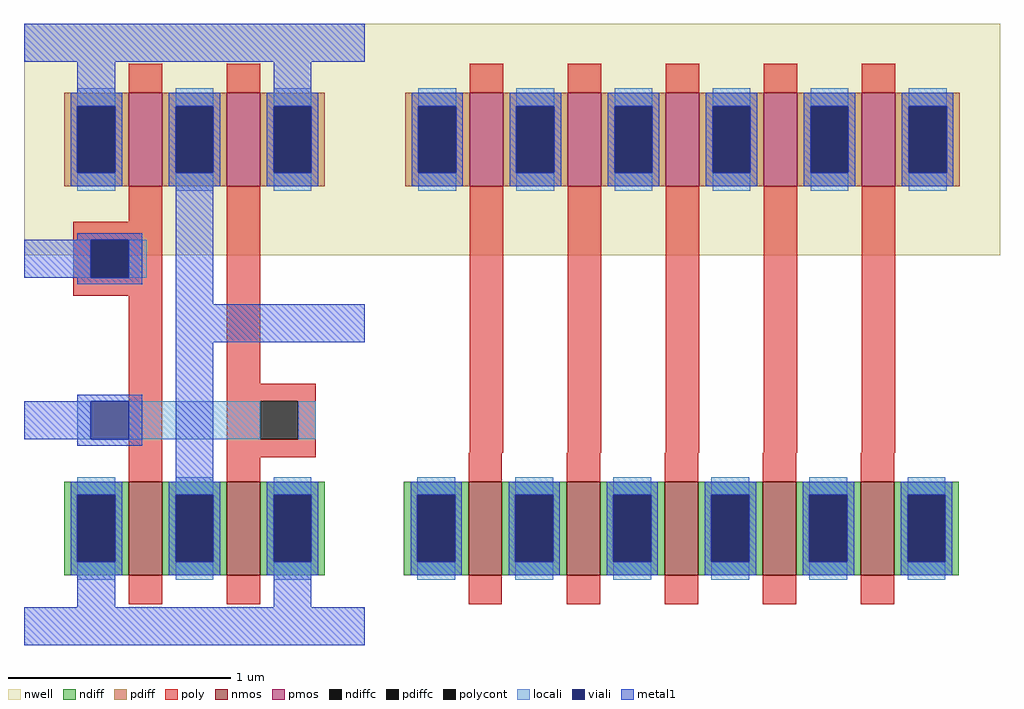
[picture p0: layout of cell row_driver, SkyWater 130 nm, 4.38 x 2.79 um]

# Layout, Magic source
magic
tech sky130A
magscale 1 2
<< poly >>
rect 400 173 430 386
rect 488 173 518 386
rect 576 173 606 386
rect 664 173 694 386
rect 752 173 782 386
use nand2  nand2_0 ~/Desktop/FabRAM/FE/sram130/nand2
transform 1 0 0 0 1 -91
box 0 91 306 649
use sky130_fd_pr__nfet_01v8_A6LSUL  sky130_fd_pr__nfet_01v8_A6LSUL_0 ~/Desktop/FabRAM/FE/sram130/common
transform 1 0 766 0 1 105
box -73 -68 73 68
use sky130_fd_pr__nfet_01v8_A6LSUL  sky130_fd_pr__nfet_01v8_A6LSUL_1
transform 1 0 414 0 1 105
box -73 -68 73 68
use sky130_fd_pr__nfet_01v8_A6LSUL  sky130_fd_pr__nfet_01v8_A6LSUL_2
transform -1 0 502 0 1 105
box -73 -68 73 68
use sky130_fd_pr__nfet_01v8_A6LSUL  sky130_fd_pr__nfet_01v8_A6LSUL_3
transform 1 0 590 0 1 105
box -73 -68 73 68
use sky130_fd_pr__nfet_01v8_A6LSUL  sky130_fd_pr__nfet_01v8_A6LSUL_4
transform -1 0 678 0 1 105
box -73 -68 73 68
use sky130_fd_pr__pfet_01v8_4Y88KP  sky130_fd_pr__pfet_01v8_4Y88KP_0 ~/Desktop/FabRAM/FE/sram130/common
transform -1 0 679 0 1 454
box -109 -104 109 104
use sky130_fd_pr__pfet_01v8_4Y88KP  sky130_fd_pr__pfet_01v8_4Y88KP_1
transform 1 0 415 0 1 454
box -109 -104 109 104
use sky130_fd_pr__pfet_01v8_4Y88KP  sky130_fd_pr__pfet_01v8_4Y88KP_2
transform -1 0 503 0 1 454
box -109 -104 109 104
use sky130_fd_pr__pfet_01v8_4Y88KP  sky130_fd_pr__pfet_01v8_4Y88KP_3
transform 1 0 591 0 1 454
box -109 -104 109 104
use sky130_fd_pr__pfet_01v8_4Y88KP  sky130_fd_pr__pfet_01v8_4Y88KP_4
transform 1 0 767 0 1 454
box -109 -104 109 104
<< end >>

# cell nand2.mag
magic
tech sky130A
magscale 1 2
<< poly >>
rect 94 471 124 477
rect 44 455 124 471
rect 44 421 60 455
rect 94 421 124 455
rect 44 405 124 421
rect 94 264 124 405
rect 182 326 212 477
rect 182 310 262 326
rect 182 276 212 310
rect 246 276 262 310
rect 182 264 262 276
rect 212 260 262 264
<< polycont >>
rect 60 421 94 455
rect 212 276 246 310
<< locali >>
rect 44 421 60 455
rect 94 421 110 455
rect 48 276 60 310
rect 94 276 212 310
rect 246 276 262 310
<< viali >>
rect 60 421 94 455
rect 60 276 94 310
<< metal1 >>
rect 0 615 306 649
rect 48 587 82 615
rect 224 587 258 615
rect 48 455 106 461
rect 0 421 60 455
rect 94 421 106 455
rect 48 415 106 421
rect 136 397 170 503
rect 136 363 306 397
rect 48 310 106 316
rect 0 276 60 310
rect 94 276 106 310
rect 48 270 106 276
rect 136 238 170 363
rect 48 125 82 154
rect 224 125 258 154
rect 0 91 306 125
use sky130_fd_pr__nfet_01v8_A6LSUL  m1 ~/Desktop/FabRAM/FE/sram130/common
transform 1 0 109 0 1 196
box -73 -68 73 68
use sky130_fd_pr__nfet_01v8_A6LSUL  m2
transform -1 0 197 0 1 196
box -73 -68 73 68
use sky130_fd_pr__pfet_01v8_4Y88KP  m3 ~/Desktop/FabRAM/FE/sram130/common
transform 1 0 109 0 1 545
box -109 -104 109 104
use sky130_fd_pr__pfet_01v8_4Y88KP  m4
transform -1 0 197 0 1 545
box -109 -104 109 104
<< labels >>
rlabel metal1 0 615 34 649 0 VDD
rlabel metal1 0 421 34 455 0 A
rlabel metal1 0 276 34 310 0 B
rlabel metal1 0 91 34 125 0 VSS
rlabel metal1 272 363 306 397 0 Y
<< end >>

# cell sky130_fd_pr__nfet_01v8_A6LSUL: kit device sky130_fd_pr__nfet_01v8, w 0.420 l 0.150 m 1 nf 1 diffcov 100 polycov 100 guard 0 glc 0 grc 0 gtc 0 gbc 0 tbcov 100 rlcov 100 topc 0 botc 0 poverlap 0 doverlap 0 lmin 0.15 wmin 0.42 compatible {sky130_fd_pr__nfet_01v8 sky130_fd_pr__nfet_01v8_lvt sky130_fd_bs_flash__special_sonosfet_star sky130_fd_pr__nfet_g5v0d10v5 sky130_fd_pr__nfet_05v0_nvt sky130_fd_pr__nfet_03v3_nvt} full_metal 0 viasrc 100 viadrn 100 viagate 100 viagb 0 viagr 0 viagl 0 viagt 0

# cell sky130_fd_pr__pfet_01v8_4Y88KP: kit device sky130_fd_pr__pfet_01v8, w 0.42 l 0.15 m 1 nf 1 diffcov 100 polycov 100 guard 0 glc 0 grc 0 gtc 0 gbc 0 tbcov 100 rlcov 100 topc 0 botc 0 poverlap 0 doverlap 0 lmin 0.15 wmin 0.42 compatible {sky130_fd_pr__pfet_01v8 sky130_fd_pr__pfet_01v8_lvt sky130_fd_pr__pfet_01v8_hvt sky130_fd_pr__pfet_g5v0d10v5} full_metal 0 viasrc 100 viadrn 100 viagate 100 viagb 0 viagr 0 viagl 0 viagt 0
